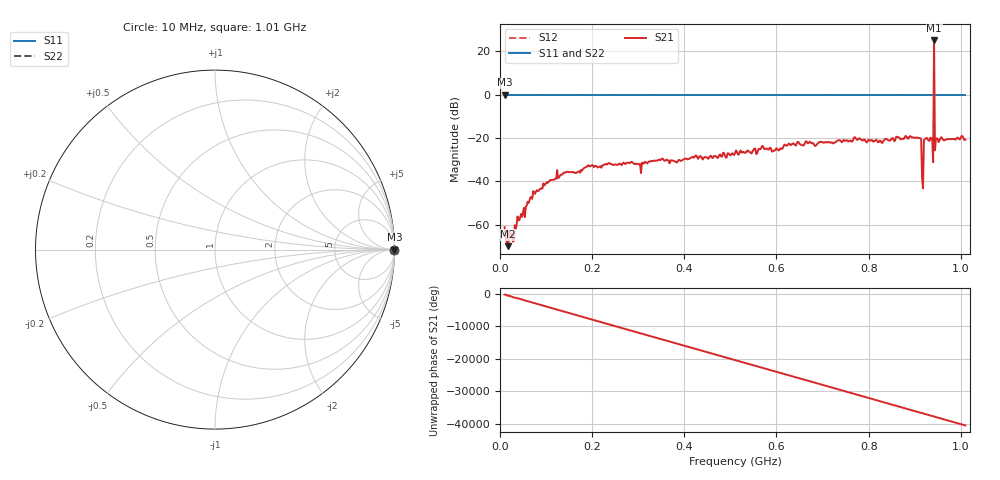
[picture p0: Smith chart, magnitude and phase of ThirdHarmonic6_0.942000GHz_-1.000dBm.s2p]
! 8/16/2025 6:38:55 AM
! C:\ANRITSUVNA\TEMP\TEMP.S2P
! CHANNEL.1
! TR.MEASUREMENT
! RAW.DATA
! RF.CORRECTION.OFF
! AVERAGING.OFF
! IF.BANDWIDTH: 5KHZ
! SWEEPTYPE:  FREQ.SWEEP(Linear)
! Reference Plane Port Info
! PORT:  PORT1  PORT2
! DISTANCE:  0  m  0  m
! TIME:  0  s  0  s
! PHASE.OFFSET:  0  deg.  0  deg.
! LOSS:  0  dB  0  dB
! REF.LOSS:  0  dB  0  dB
! REF.FREQ:  0  Hz  0  Hz
! Power Info
! POWER:  -20  dBm  -20  dBm
! EFF.POWER:  -20  dBm  -20  dBm
! SOURCE.ATTEN:  0  dB  0  dB
! TEST.ATTEN:  0  dB  0  dB
# GHZ S RI R 50.0
! FREQ.GHZ  S11RE  S11IM  S21RE  S21IM  S12RE  S12IM  S22RE  S22IM
!; PortSelection: Port_12
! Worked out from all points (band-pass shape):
!   501 points, 10 MHz to 1.01 GHz, reference 50 ohm
!   highest |S21| = 25.03 dB at 942 MHz (marker M1); lowest = -69.8 dB at 18 MHz (marker M2)
!   |S21| within 3 dB of the highest: 941.8931 MHz to 942.1186 MHz (225.5 kHz wide, 0.0239 % of centre)
!   lowest |S11| = 0.0 dB at 10 MHz (marker M3)
!   |S11| at or under -10 dB: nowhere
!   |S22| runs from 0.0 to 0.0 dB; largest |S21 - S12| = 18
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0.01  1 0  -0.000881 -4.4e-06  1 0  1 0
0.018  1 0  -0.000138 -0.000292  1 0  1 0
0.03  1 0  0.000407 0.000121  1 0  1 0
0.042  1 0  0.0011 -0.000667  1 0  1 0
0.076  1 0  0.00518 0.00018  1 0  1 0
0.128  1 0  0.00831 0.00914  1 0  1 0
0.178  1 0  -0.0179 -0.000651  1 0  1 0
0.344  1 0  0.0277 -0.0153  1 0  1 0
0.51  1 0  -0.0392 0.0206  1 0  1 0
0.678  1 0  -0.067 -0.0379  1 0  1 0
0.844  1 0  0.0866 -0.0146  1 0  1 0
0.91  1 0  -0.0957 -0.0328  1 0  1 0
0.914  1 0  0.0778 0.0541  1 0  1 0
0.918  1 0  0.00232 -0.00657  1 0  1 0
0.92  1 0  -0.0835 0.0337  1 0  1 0
0.924  1 0  0.0974 -0.000474  1 0  1 0
0.936  1 0  -0.0615 -0.077  1 0  1 0
0.938  1 0  -0.0886 0.043  1 0  1 0
0.942  1 0  4.309 17.33  1 0  1 0
0.946  1 0  -0.0929 -0.013  1 0  1 0
0.948  1 0  -0.0288 0.095  1 0  1 0
1.01  1 0  -0.0563 0.0729  1 0  1 0
